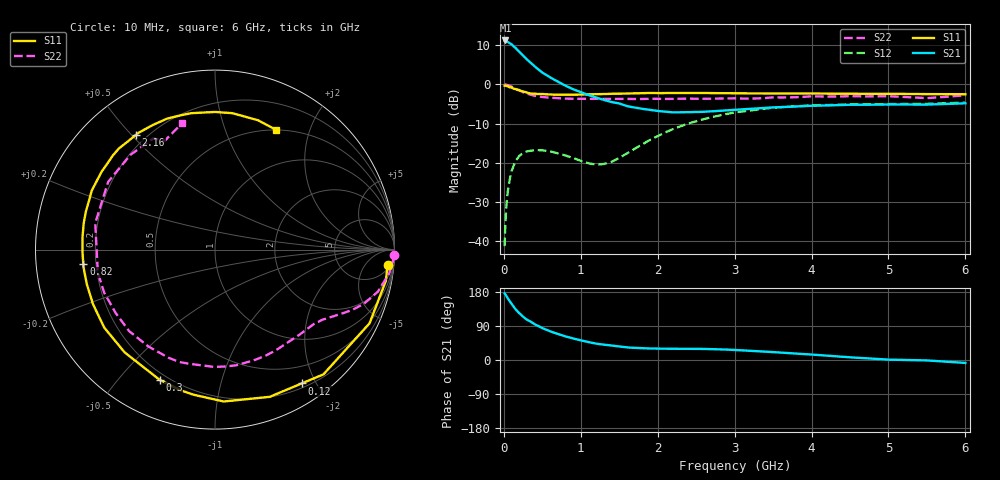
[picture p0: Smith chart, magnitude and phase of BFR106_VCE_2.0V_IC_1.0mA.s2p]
! Infineon Technologies  Discrete & RF Semiconductors
! BFR106
! VCE =  2.0 V,  IC =  1.0 mA
! Common Emitter S-Parameters:  Nov 2015
# GHz  S  MA  R  50
!  f  S11  S21  S12  S22
! GHz  MAG  ANG  MAG  ANG  MAG  ANG  MAG  ANG
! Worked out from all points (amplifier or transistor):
!   210 points, 10 MHz to 6 GHz, reference 50 ohm
!   highest |S21| = 11.2 dB at 20 MHz (marker M1)
!   |S21| within 3 dB of that: start of sweep to 208.1 MHz
!   unconditionally stable (mu >= 1): 849.9 MHz to end of sweep
!   at 185 MHz: K = 0.21, MSG = 13.6 dB, |S12| = -18.6 dB
!   at 1.52 GHz: K = 1.40, MAG = 3.0 dB, |S12| = -18.5 dB
!   at 6 GHz: K = 1.02, MAG = -1.0 dB, |S12| = -4.6 dB
!   S11 on the Smith chart (normalised r, x): 10 MHz: 8, -19; 120 MHz: 0.26, -1.81; 300 MHz: 0.17, -0.65; 820 MHz: 0.15, -0.05; 2.16 GHz: 0.16, +0.51; 6 GHz: 0.50, +1.51
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0.01  0.9656 -5.1  3.6 176.0  0.0087 88.3  0.9999 -1.7
0.02  0.9676 -10.4  3.625 173.4  0.017 84.3  0.9955 -3.2
0.05  0.954 -25.5  3.488 162.7  0.0423 74.6  0.9793 -7.8
0.1  0.9211 -49.0  3.245 148.4  0.0784 62.6  0.9373 -14.5
0.12  0.8889 -57.0  3.095 143.0  0.0885 57.0  0.9149 -16.6
0.15  0.8751 -69.6  2.926 134.1  0.1048 50.8  0.8836 -19.9
0.2  0.8477 -86.7  2.617 123.7  0.1225 42.5  0.8371 -23.6
0.24  0.8173 -98.4  2.381 116.0  0.1317 36.4  0.8019 -26.0
0.3  0.788 -113.1  2.079 106.5  0.1404 30.1  0.7618 -29.0
0.4  0.7625 -131.3  1.694 94.3  0.1457 21.7  0.7159 -33.0
0.5  0.7547 -144.8  1.414 84.1  0.1448 16.4  0.6902 -36.8
0.6  0.7447 -155.8  1.228 75.5  0.1402 13.0  0.6771 -40.9
0.82  0.7382 -173.6  0.943 61.2  0.1226 11.7  0.6581 -50.6
1.02  0.7417 173.6  0.78 50.9  0.1046 17.6  0.6549 -60.0
1.4  0.7613 154.5  0.596 37.9  0.103 49.1  0.6552 -79.7
2.02  0.7739 129.4  0.456 30.1  0.2247 66.9  0.6547 -114.4
2.16  0.7762 124.6  0.444 29.7  0.2594 65.0  0.6533 -122.3
2.6  0.777 110.0  0.447 29.2  0.3617 55.6  0.6564 -147.5
3.1  0.7686 97.9  0.481 25.4  0.4507 42.3  0.6597 -173.7
4.1  0.7641 81.5  0.536 12.9  0.5434 19.3  0.7011 144.4
5.1  0.7574 70.6  0.555 0.6  0.5625 3.7  0.6998 118.2
6  0.7489 63.1  0.574 -7.7  0.5868 -6.5  0.7264 104.7
